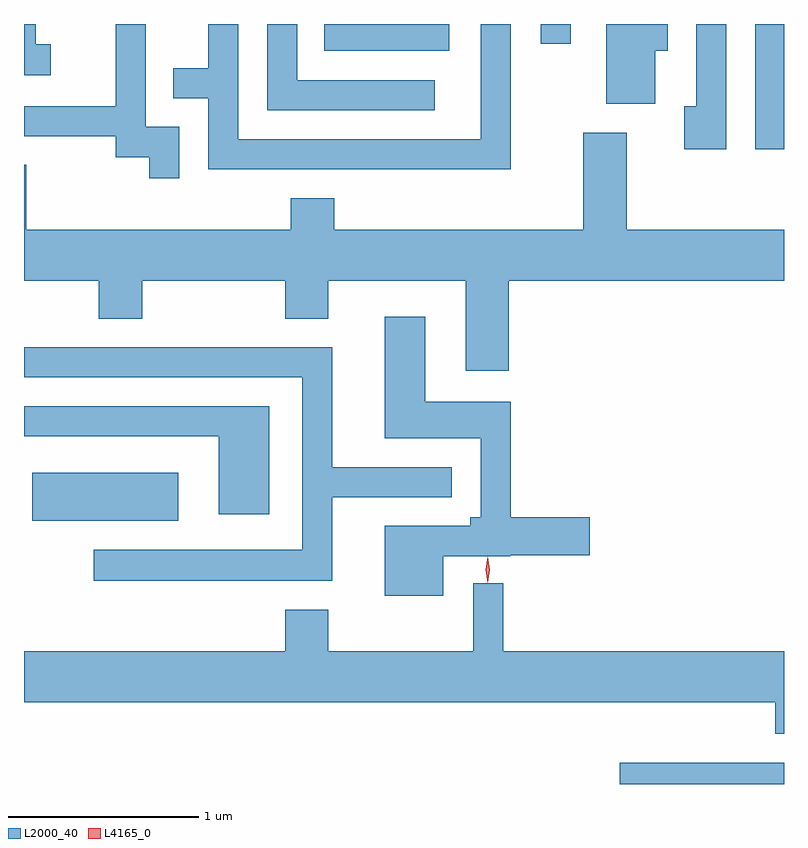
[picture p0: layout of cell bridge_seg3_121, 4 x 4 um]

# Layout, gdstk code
import gdstk
lib = gdstk.Library(unit=1e-6, precision=1e-09)
def R(c, l, rs):  # rectangles x0, y0, x1, y1
    for r in rs: c.add(gdstk.rectangle(r[:2], r[2:], *l))
def P(c, l, *ps):  # polygons
    for p in ps: c.add(gdstk.Polygon(p, *l))
L2000_40 = (2000, 40)
L4165_0 = (4165, 0)

bridge_seg3_121 = lib.new_cell('bridge_seg3_121')
R(bridge_seg3_121, L2000_40, [(725.913,1196.626,726.777,1196.739), (722.821,1198.011,723.589,1198.264), (726.626,1199.966,726.777,1200.626), (724.358,1200.486,725.014,1200.626), (725.496,1200.523,725.654,1200.626)])
P(bridge_seg3_121, L2000_40, [(726.474,1200.626),(726.316,1200.626),(726.316,1200.194),(726.251,1200.194),(726.251,1199.966),(726.474,1199.966)],
  [(726.099,1200.486),(726.164,1200.486),(726.164,1200.626),(725.841,1200.626),(725.841,1200.206),(726.099,1200.206)],
  [(723.594,1200.084),(723.419,1200.084),(723.419,1200.626),(723.261,1200.626),(723.261,1200.194),(722.777,1200.194),(722.777,1200.036),(723.261,1200.036),(723.261,1199.926),(723.436,1199.926),(723.436,1199.813),(723.594,1199.813)],
  [(722.918,1200.519),(722.839,1200.519),(722.839,1200.626),(722.777,1200.626),(722.777,1200.356),(722.918,1200.356)],
  [(725.339,1200.626),(725.181,1200.626),(725.181,1200.019),(723.904,1200.019),(723.904,1200.626),(723.746,1200.626),(723.746,1200.394),(723.563,1200.394),(723.563,1200.236),(723.746,1200.236),(723.746,1199.861),(725.339,1199.861)],
  [(724.938,1200.329),(724.214,1200.329),(724.214,1200.626),(724.056,1200.626),(724.056,1200.171),(724.938,1200.171)],
  [(725.329,1199.276),(726.777,1199.276),(726.777,1199.544),(725.949,1199.544),(725.949,1200.054),(725.721,1200.054),(725.721,1199.544),(724.409,1199.544),(724.409,1199.709),(724.181,1199.709),(724.181,1199.544),(722.789,1199.544),(722.789,1199.884),(722.777,1199.884),(722.777,1199.276),(723.171,1199.276),(723.171,1199.076),(723.399,1199.076),(723.399,1199.276),(724.151,1199.276),(724.151,1199.076),(724.379,1199.076),(724.379,1199.276),(725.101,1199.276),(725.101,1198.801),(725.329,1198.801)],
  [(724.984,1197.826),(725.335,1197.826),(725.335,1197.831),(725.754,1197.831),(725.754,1198.029),(725.339,1198.029),(725.339,1198.639),(724.889,1198.639),(724.889,1199.084),(724.676,1199.084),(724.676,1198.446),(725.181,1198.446),(725.181,1198.029),(725.126,1198.029),(725.126,1197.984),(724.676,1197.984),(724.676,1197.616),(724.984,1197.616)],
  [(724.399,1198.136),(725.028,1198.136),(725.028,1198.294),(724.399,1198.294),(724.399,1198.924),(722.777,1198.924),(722.777,1198.766),(724.241,1198.766),(724.241,1197.859),(723.143,1197.859),(723.143,1197.696),(724.399,1197.696)],
  [(724.069,1198.614),(722.777,1198.614),(722.777,1198.456),(723.801,1198.456),(723.801,1198.046),(724.069,1198.046)],
  [(726.777,1197.324),(725.299,1197.324),(725.299,1197.683),(725.141,1197.683),(725.141,1197.324),(724.379,1197.324),(724.379,1197.544),(724.151,1197.544),(724.151,1197.324),(722.777,1197.324),(722.777,1197.056),(726.731,1197.056),(726.731,1196.891),(726.777,1196.891)])
P(bridge_seg3_121, L4165_0, [(725.217,1197.685),(725.208,1197.754),(725.217,1197.823),(725.218,1197.823),(725.218,1197.823),(725.228,1197.754),(725.218,1197.685),(725.218,1197.685)],
  [(725.218,1197.688),(725.217,1197.689),(725.208,1197.754),(725.217,1197.82),(725.218,1197.821),(725.218,1197.82),(725.228,1197.754),(725.218,1197.689)])

lib.write_gds('bridge_seg3_121.gds')
